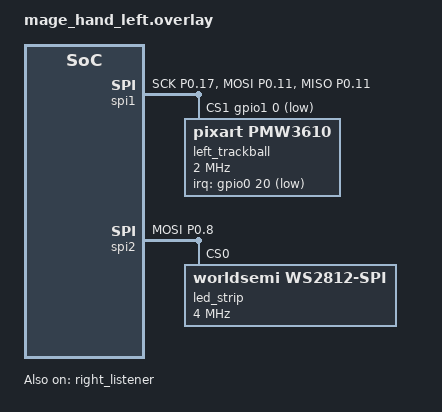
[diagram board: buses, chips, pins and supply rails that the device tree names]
#include "mage_hand.dtsi"

/ {
	chosen {
		zmk,underglow  = &led_strip;
		zephyr,display = &nice_view_screen;
    };
};

//======//
// KEYS //
//======//
&kscan0 {
    col-gpios
        = <&gpio1 13 GPIO_ACTIVE_HIGH> 
		, <&gpio1 11 GPIO_ACTIVE_HIGH>
        , <&gpio0 10 GPIO_ACTIVE_HIGH>
        , <&gpio0  9 GPIO_ACTIVE_HIGH>
        , <&gpio1  1 GPIO_ACTIVE_HIGH>
        , <&gpio1  2 GPIO_ACTIVE_HIGH>
        , <&gpio1  7 GPIO_ACTIVE_HIGH>
        ;
};

&right_listener {
    status = "okay";
};


//======================//
// TRACKBALL AND SCREEN //
//======================//
nice_view_spi: &spi1 {
	status = "okay";
	compatible = "nordic,nrf-spim";
	pinctrl-0 = <&trackball_default>;
	pinctrl-1 = <&trackball_sleep>;
	pinctrl-names = "default", "sleep";
	cs-gpios = <&gpio0 6 GPIO_ACTIVE_HIGH>, <&gpio1 0 GPIO_ACTIVE_LOW>;
	
	left_trackball: left_trackball@1 {
		status = "okay";
		compatible = "pixart,pmw3610";
		reg = <1>;
		spi-max-frequency = <2000000>;
        irq-gpios = <&gpio0 20 (GPIO_ACTIVE_LOW | GPIO_PULL_UP)>;
        cpi = <600>;
		evt-type = <INPUT_EV_REL>;
		x-input-code = <INPUT_REL_X>;
		y-input-code = <INPUT_REL_Y>;
		
        force-awake;
        /* keep the sensor awake while ZMK activity state is ACTIVE,
           fallback to normal downshift mode after ZMK goes into IDLE / SLEEP mode.
           thus, the sensor would be a `wakeup-source` */
	};
};

/{
	left_listener {
		compatible = "zmk,input-listener";
		status = "disabled";
		device = <&left_trackball>;
		/*
		input-processors = 
			<&zip_xy_transform INPUT_TRANSFORM_XY_SWAP>,      // this gets it to the default installation orientation
			<&zip_xy_scaler 1 16>,       					  // multiply sensitivity by 1, divide by 3 (make it slower for scrolling)
			<&zip_xy_to_scroll_mapper>, 					  // make this trackball output scrolling events by default instead of cursor movement
			<&zip_scroll_transform INPUT_TRANSFORM_Y_INVERT>; // invert vertical scrolling so that the view moves in the same direction as the top of the trackball.
			*/
	};
};

&pinctrl {
	trackball_default: trackball_default {
		group1 {
			psels = <NRF_PSEL(SPIM_SCK,  0, 17)>,
					<NRF_PSEL(SPIM_MOSI, 0, 11)>,
					<NRF_PSEL(SPIM_MISO, 0, 11)>;
		};
	};

	trackball_sleep: trackball_sleep {
		group1 {
			psels = <NRF_PSEL(SPIM_SCK,  0, 17)>,
					<NRF_PSEL(SPIM_MOSI, 0, 11)>,
					<NRF_PSEL(SPIM_MISO, 0, 11)>;
			low-power-enable;
		};
	};
};


//======//
// LEDS //
//======//
&pinctrl {
	spi2_default: spi2_default {
		group1 {
			psels = <NRF_PSEL(SPIM_MOSI, 0, 8)>;
		};
	};

    spi2_sleep: spi2_sleep {
		group1 {
			psels = <NRF_PSEL(SPIM_MOSI, 0, 8)>;
			low-power-enable;
		};
	};
};

&spi2 {
    compatible = "nordic,nrf-spim";
    status     = "okay";

    pinctrl-0     = <&spi2_default>;
    pinctrl-1     = <&spi2_sleep>;
    pinctrl-names = "default", "sleep";

    led_strip: ws2812@0 {
		compatible = "worldsemi,ws2812-spi";

	    /* SPI */
		reg = <0>; /* ignored, but necessary for SPI bindings */
		spi-max-frequency = <4000000>;

		/* WS2812 */
		chain-length   = <40>; /* arbitrary; change at will */
		spi-one-frame  = <0x70>;
		spi-zero-frame = <0x40>;

		color-mapping = <LED_COLOR_ID_GREEN LED_COLOR_ID_RED LED_COLOR_ID_BLUE>;
	};
};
